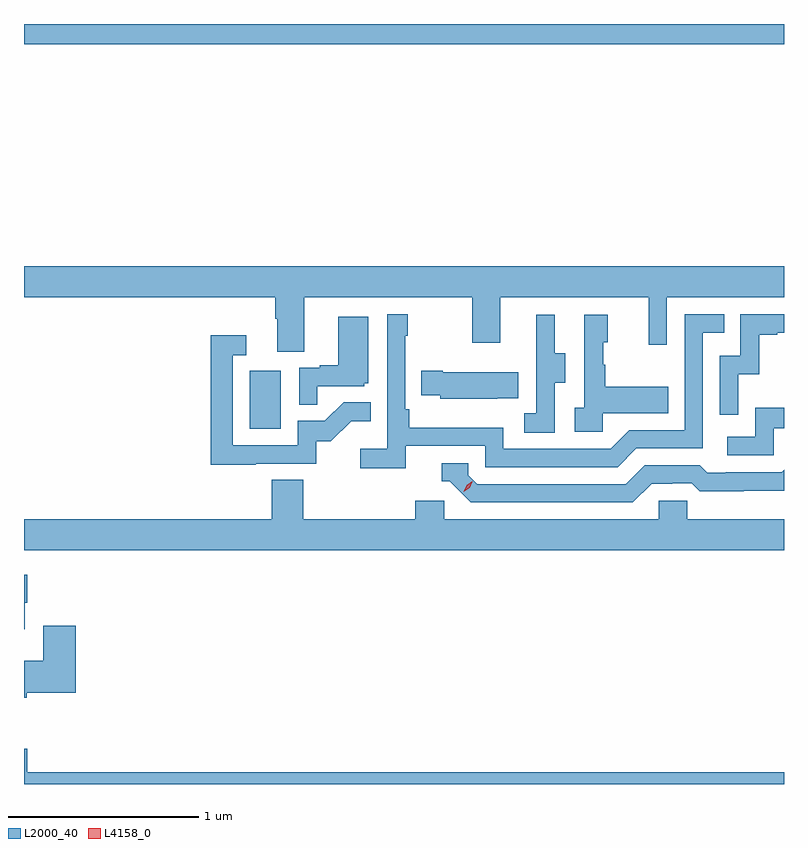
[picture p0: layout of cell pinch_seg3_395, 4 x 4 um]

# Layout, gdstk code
import gdstk
lib = gdstk.Library(unit=1e-6, precision=1e-09)
def R(c, l, rs):  # rectangles x0, y0, x1, y1
    for r in rs: c.add(gdstk.rectangle(r[:2], r[2:], *l))
def P(c, l, *ps):  # polygons
    for p in ps: c.add(gdstk.Polygon(p, *l))
L2000_40 = (2000, 40)
L4158_0 = (4158, 0)

pinch_seg3_395 = lib.new_cell('pinch_seg3_395')
R(pinch_seg3_395, L2000_40, [(949.202,693.564,949.366,693.871), (948.015,695.588,952.015,695.695)])
P(pinch_seg3_395, L2000_40, [(949.489,694.256),(950.374,694.256),(950.374,694.017),(950.521,694.017),(950.521,694.256),(951.302,694.256),(951.302,694.008),(951.399,694.008),(951.399,694.256),(952.015,694.256),(952.015,694.42),(948.015,694.42),(948.015,694.256),(949.337,694.256),(949.337,694.144),(949.349,694.144),(949.349,693.97),(949.489,693.97)],
  [(950.024,693.474),(950.442,693.474),(950.442,693.363),(951.139,693.363),(951.238,693.462),(951.588,693.462),(951.588,694.071),(951.701,694.071),(951.701,694.167),(951.492,694.167),(951.492,693.558),(951.201,693.558),(951.102,693.459),(950.538,693.459),(950.538,693.571),(950.042,693.571),(950.042,693.667),(950.022,693.667),(950.022,694.055),(950.035,694.055),(950.035,694.168),(949.926,694.168),(949.926,693.46),(949.785,693.46),(949.785,693.358),(950.024,693.358)],
  [(951.774,693.851),(951.884,693.851),(951.884,694.059),(951.979,694.059),(951.979,694.071),(952.015,694.071),(952.015,694.167),(951.786,694.167),(951.786,693.948),(951.678,693.948),(951.678,693.639),(951.774,693.639)],
  [(951.06,693.647),(951.407,693.647),(951.407,693.787),(951.073,693.787),(951.073,693.902),(951.063,693.902),(951.063,694.02),(951.088,694.02),(951.088,694.165),(950.964,694.165),(950.964,693.674),(950.913,693.674),(950.913,693.549),(951.06,693.549)],
  [(950.808,693.808),(950.863,693.808),(950.863,693.963),(950.809,693.963),(950.809,694.165),(950.711,694.165),(950.711,693.951),(950.712,693.951),(950.712,693.647),(950.649,693.647),(950.649,693.544),(950.808,693.544)],
  [(949.559,693.789),(949.806,693.789),(949.806,693.804),(949.828,693.804),(949.828,694.153),(949.67,694.153),(949.67,693.898),(949.571,693.898),(949.571,693.885),(949.464,693.885),(949.464,693.691),(949.559,693.691)],
  [(949.235,693.381),(949.554,693.381),(949.554,693.498),(949.63,693.498),(949.737,693.605),(949.841,693.605),(949.841,693.704),(949.697,693.704),(949.599,693.606),(949.455,693.606),(949.455,693.477),(949.113,693.477),(949.113,693.951),(949.186,693.951),(949.186,694.057),(948.997,694.057),(948.997,693.376),(949.235,693.376)],
  [(950.507,693.725),(950.615,693.725),(950.615,693.862),(950.218,693.862),(950.218,693.87),(950.107,693.87),(950.107,693.74),(950.205,693.74),(950.205,693.722),(950.507,693.722)],
  [(951.96,693.567),(952.015,693.567),(952.015,693.676),(951.864,693.676),(951.864,693.522),(951.717,693.522),(951.717,693.426),(951.96,693.426)],
  [(951.319,693.276),(951.426,693.276),(951.426,693.279),(951.529,693.279),(951.571,693.237),(951.804,693.237),(951.804,693.239),(952.015,693.239),(952.015,693.349),(952.002,693.336),(951.709,693.336),(951.709,693.333),(951.61,693.333),(951.571,693.372),(951.282,693.372),(951.183,693.273),(950.4,693.273),(950.352,693.321),(950.352,693.384),(950.213,693.384),(950.213,693.288),(950.256,693.288),(950.367,693.177),(951.22,693.177)],
  [(952.015,693.088),(951.507,693.088),(951.507,693.186),(951.357,693.186),(951.357,693.088),(950.226,693.088),(950.226,693.186),(950.075,693.186),(950.075,693.088),(949.484,693.088),(949.484,693.296),(949.319,693.296),(949.319,693.088),(948.015,693.088),(948.015,692.924),(952.015,692.924)],
  [(948.019,692.649),(948.032,692.649),(948.032,692.797),(948.015,692.797),(948.015,692.51),(948.019,692.51)],
  [(948.03,692.174),(948.287,692.174),(948.287,692.527),(948.116,692.527),(948.116,692.344),(948.015,692.344),(948.015,692.15),(948.03,692.15)],
  [(952.015,691.756),(948.032,691.756),(948.032,691.88),(948.015,691.88),(948.015,691.695),(952.015,691.695)])
P(pinch_seg3_395, L4158_0, [(950.329,693.234),(950.329,693.235),(950.345,693.268),(950.375,693.288),(950.375,693.288),(950.375,693.287),(950.36,693.254),(950.33,693.234)])

lib.write_gds('pinch_seg3_395.gds')
